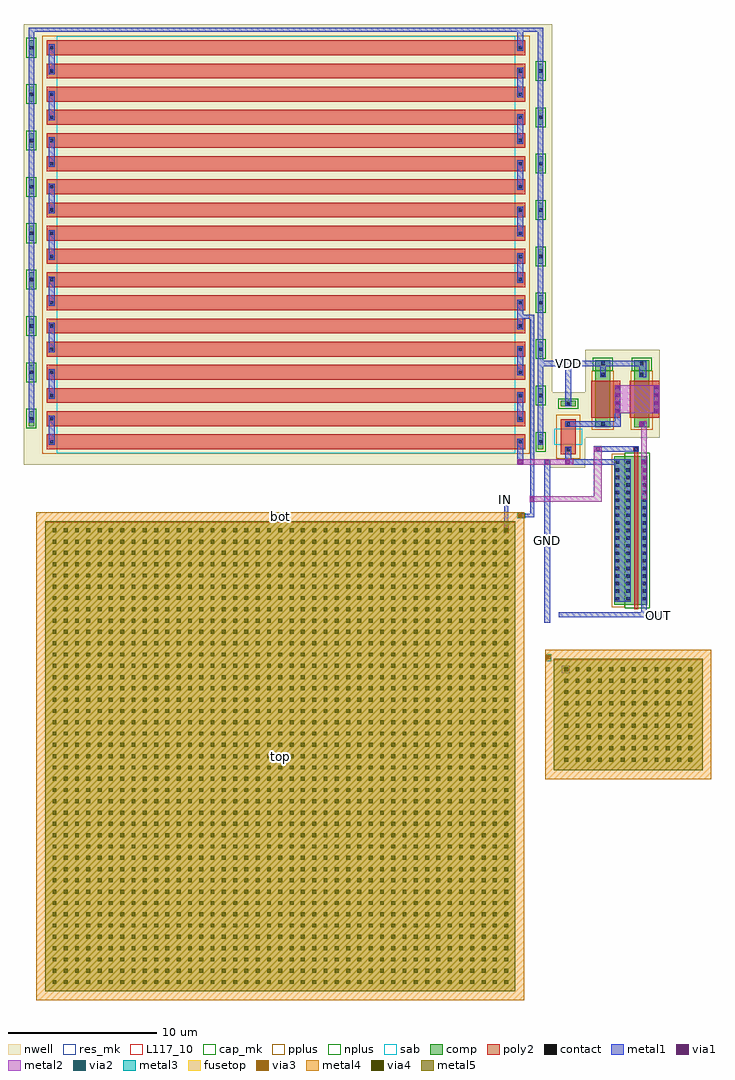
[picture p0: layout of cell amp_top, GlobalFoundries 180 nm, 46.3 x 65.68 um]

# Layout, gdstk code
import gdstk
lib = gdstk.Library(unit=1e-6, precision=5e-09)
def R(c, l, rs):  # rectangles x0, y0, x1, y1
    for r in rs: c.add(gdstk.rectangle(r[:2], r[2:], *l))
def A(c, l, x, y, w, h, nx, ny, dx, dy):  # array of equal rectangles
    R(c, l, [(x+i*dx, y+j*dy, x+i*dx+w, y+j*dy+h) for i in range(nx) for j in range(ny)])
def P(c, l, *ps):  # polygons
    for p in ps: c.add(gdstk.Polygon(p, *l))
nwell = (21, 0)
comp = (22, 0)
poly2 = (30, 0)
pplus = (31, 0)
nplus = (32, 0)
contact = (33, 0)
metal1 = (34, 0)
via1 = (35, 0)
metal2 = (36, 0)
via2 = (38, 0)
via3 = (40, 0)
via4 = (41, 0)
metal3 = (42, 0)
metal4 = (46, 0)
sab = (49, 0)
fusetop = (75, 0)
metal5 = (81, 0)
res_mk = (110, 5)
cap_mk = (117, 5)
L117_10 = (117, 10)

amp_top = lib.new_cell('amp_top')
R(amp_top, nwell, [(39.69,38.19,39.93,44.1), (39.93,38.19,42.31,44.1)])
P(amp_top, nwell, [(34.92,36.155),(34.92,36.365),(-0.49,36.365),(-0.49,66.03),(35.075,66.03),(35.075,41.25),(37.31,41.25),(37.31,44.1),(39.69,44.1),(39.69,38.19),(37.31,38.19),(37.31,36.155)])
A(amp_top, comp, 34.13, 37.41, 0.36, 1, 1, 9, 0, 3.12)
A(amp_top, comp, -0.14, 38.97, 0.36, 1, 1, 9, 0, 3.12)
R(amp_top, comp, [(39.275,26.945,39.985,36.945), (39.985,26.945,40.405,36.945), (40.405,26.945,41.065,36.945), (41.065,26.945,41.485,36.945), (38,38.88,39,39.34), (40.62,38.88,41.62,39.34), (38,39.34,39,42.22), (40.62,39.34,41.62,42.22), (35.67,40.3,36.67,40.66), (38,42.22,39,42.68), (40.62,42.22,41.62,42.68), (38,42.68,39,43.41), (40.62,42.68,41.62,43.41)])
A(amp_top, poly2, 1.08, 37.41, 32.19, 1, 1, 18, 0, 1.56)
R(amp_top, poly2, [(40.595,26.645,40.875,37.245), (35.67,37.07,36.67,39.44), (40.555,37.245,40.915,37.605), (37.7,39.53,39.3,42.03), (39.3,39.53,39.68,42.03), (40.32,39.53,41.92,42.03), (41.92,39.53,42.3,42.03)])
A(amp_top, pplus, 0.78, 37.11, 32.79, 1.6, 1, 18, 0, 1.56)
R(amp_top, pplus, [(39.105,26.775,39.985,37.115), (35.37,36.77,36.97,39.74), (37.76,38.71,39.24,42.68), (40.38,38.71,41.86,42.68)])
A(amp_top, nplus, 33.97, 37.25, 0.68, 1.32, 1, 9, 0, 3.12)
A(amp_top, nplus, -0.3, 38.81, 0.68, 1.32, 1, 9, 0, 3.12)
R(amp_top, nplus, [(39.985,26.705,41.655,37.185), (35.51,40.14,36.83,40.82), (37.83,42.68,39.17,43.58), (40.45,42.68,41.79,43.58)])
A(amp_top, contact, 39.375, 27.245, 0.22, 0.22, 1, 19, 0, 0.51)
A(amp_top, contact, 40.085, 27.245, 0.22, 0.22, 1, 19, 0, 0.51)
A(amp_top, contact, 41.165, 27.245, 0.22, 0.22, 1, 19, 0, 0.51)
A(amp_top, contact, 1.3, 37.8, 0.22, 0.22, 1, 18, 0, 1.56)
A(amp_top, contact, 32.83, 37.8, 0.22, 0.22, 1, 18, 0, 1.56)
A(amp_top, contact, 34.2, 37.8, 0.22, 0.22, 1, 9, 0, 3.12)
A(amp_top, contact, -0.07, 39.36, 0.22, 0.22, 1, 9, 0, 3.12)
A(amp_top, contact, 39.38, 39.905, 0.22, 0.22, 1, 4, 0, 0.51)
A(amp_top, contact, 42, 39.905, 0.22, 0.22, 1, 4, 0, 0.51)
R(amp_top, contact, [(36.06,37.29,36.28,37.51), (40.625,37.315,40.845,37.535), (36.06,39,36.28,39.22), (38.39,39,38.61,39.22), (41.01,39,41.23,39.22), (36.06,40.37,36.28,40.59), (38.39,42.34,38.61,42.56), (41.01,42.34,41.23,42.56), (38.39,43.07,38.61,43.29), (41.01,43.07,41.23,43.29)])
A(amp_top, metal1, 1.22, 37.72, 0.38, 0.38, 1, 18, 0, 1.56)
A(amp_top, metal1, 32.75, 37.72, 0.38, 0.38, 1, 18, 0, 1.56)
A(amp_top, metal1, 34.12, 37.72, 0.38, 0.38, 1, 9, 0, 3.12)
A(amp_top, metal1, -0.15, 39.28, 0.38, 0.38, 1, 9, 0, 3.12)
A(amp_top, metal1, 1.22, 41.22, 0.38, 1.18, 1, 7, 0, 3.12)
A(amp_top, metal1, 32.75, 52.14, 0.38, 1.18, 1, 3, 0, 3.12)
R(amp_top, metal1, [(39.295,27.165,39.675,36.725), (40.005,27.165,40.385,36.725), (31.86,31.77,32.12,31.83), (31.86,31.83,32.12,32.09), (32.75,32.82,32.81,33.08), (32.81,32.82,32.84,33.08), (32.75,36.365,33.13,37.72), (34.12,37.705,34.5,37.72), (1.22,37.71,1.6,37.72), (1.22,38.05,1.6,39.305), (34.12,38.075,34.24,53.32), (32.75,38.1,33.13,38.12), (35.98,38.92,38.31,39.3), (38.31,38.92,38.69,39.3), (40.93,38.92,41.31,39.3), (38.69,38.925,39.69,39.3), (-0.15,39.245,0.23,39.28), (32.75,39.255,33.13,39.28), (-0.15,39.28,0.23,63.395), (39.3,39.3,39.69,39.825), (32.75,39.565,33.13,40.865), (1.22,39.66,1.6,39.67), (39.3,39.825,39.68,41.735), (41.92,39.825,42.3,41.735), (1.22,40.825,1.6,40.84), (32.75,41.22,33.13,41.235), (38.31,42.26,38.69,42.64), (40.93,42.26,41.31,42.64), (41.31,42.26,41.405,43.37), (32.75,42.385,33.13,42.4), (38.31,42.635,38.69,42.99), (40.93,42.64,41.31,42.99), (32.75,42.725,33.13,43.96), (1.22,42.78,1.6,42.795), (38.31,42.99,38.69,43.37), (38.69,42.99,40.93,43.37), (40.93,42.99,41.31,43.37), (1.22,43.945,1.6,43.96), (32.75,44.34,33.13,44.355), (32.75,45.5,33.13,45.52), (32.75,45.82,33.13,47.12), (1.22,45.9,1.6,45.915), (1.22,47.065,1.6,47.08), (32.75,47.46,33.13,47.48), (32.75,48.62,33.13,48.64), (32.75,48.915,33.13,50.2), (1.22,49.02,1.6,49.03), (1.22,50.18,1.6,50.2), (32.75,50.58,33.13,50.595), (32.75,51.74,33.13,51.76), (1.22,52.14,1.6,52.16), (1.22,53.305,1.6,53.32), (32.75,53.7,33.13,53.72), (34.12,53.7,34.24,56.44), (32.75,54.865,33.13,54.88), (1.22,55.26,1.6,55.275), (1.22,56.425,1.6,56.44), (32.75,56.82,33.13,56.845), (34.12,56.82,34.24,59.56), (32.75,57.98,33.13,58), (33.02,58.18,33.07,58.44), (1.22,58.38,1.6,58.4), (1.22,59.545,1.6,59.56), (32.75,59.94,33.13,59.965), (34.12,59.94,34.5,62.63), (32.75,61.11,33.13,61.12), (32.75,61.12,33.13,63.06), (1.22,61.5,1.6,61.515), (34.12,62.63,34.5,65.785), (1.22,62.645,1.6,62.68), (1.22,62.68,1.6,64.655), (32.75,63.06,33.13,63.075), (-0.15,63.395,0.23,65.785), (32.75,64.22,33.13,64.24), (32.75,64.24,33.13,65.655)])
P(amp_top, metal1, [(34.54,25.725),(34.54,36.725),(34.955,36.725),(34.955,25.725),(34.54,25.725),(34.54,25.755)],
  [(35.94,26.115),(35.94,26.12),(35.525,26.12),(35.525,26.445),(41.085,26.445),(41.085,36.725),(41.465,36.725),(41.465,26.445),(42.905,26.445),(42.905,26.115)],
  [(31.86,32.09),(31.86,34.26),(32.12,34.26),(32.12,33.875),(32.12,32.09)],
  [(32.84,32.82),(32.84,33.08),(33.62,33.08),(33.62,33.875),(33.575,33.875),(33.575,34.26),(33.62,34.26),(33.62,34.35),(33.88,34.35),(33.88,32.82)],
  [(34.24,37.725),(34.24,59.945),(34.5,59.945),(34.5,43.37),(38.31,43.37),(38.31,42.99),(36.36,42.99),(36.36,40.29),(35.98,40.29),(35.98,42.99),(34.5,42.99),(34.5,37.725)],
  [(37.895,37.235),(37.895,37.615),(40.925,37.615),(40.925,37.235),(40.545,37.235)],
  [(39.675,27.165),(39.675,36.365),(35.98,36.365),(35.98,37.59),(36.36,37.59),(36.36,36.725),(40.005,36.725),(40.005,27.165)],
  [(34.12,59.56),(34.12,59.56),(34.24,59.56),(34.24,59.56)],
  [(34.12,59.56),(34.12,59.56),(34.24,59.56),(34.24,59.56)],
  [(32.75,51.76),(32.75,51.76),(33.13,51.76),(33.13,51.76)],
  [(32.75,64.24),(32.75,64.24),(33.13,64.24),(33.13,64.24)],
  [(7.845,63.03),(7.845,63.03),(7.845,63.03),(7.845,63.03)])
A(amp_top, via1, 39.36, 40.395, 0.26, 0.26, 1, 3, 0, 0.52)
A(amp_top, via1, 41.98, 40.395, 0.26, 0.26, 1, 3, 0, 0.52)
R(amp_top, via1, [(35.895,22.47,36.155,22.73), (34.7,23.275,34.96,23.535), (34.7,23.275,34.96,23.535), (31.86,31.83,32.12,32.09), (32.81,32.82,33.07,33.08), (33.595,33.925,33.855,34.185), (41.165,35.365,41.425,35.625), (41.165,35.87,41.42,36.135), (41.145,36.405,41.405,36.665), (32.81,36.415,33.07,36.675), (34.61,36.425,34.87,36.685), (36.005,36.425,36.265,36.685), (38.015,37.3,38.275,37.56), (40.99,38.98,41.25,39.24), (41.01,39,41.23,39.22), (39.36,39.865,39.62,40.125), (41.98,39.865,42.24,40.125), (41.98,41.435,42.24,41.695)])
P(amp_top, via1, [(32.895,33.06),(32.895,33.06),(32.895,33.06),(32.895,33.06)])
R(amp_top, metal2, [(35.72,22.355,36.28,22.83), (34.64,23.15,35.015,23.615), (34.64,23.15,35.015,23.615), (31.82,31.77,32.16,32.305), (32.75,32.78,33.285,32.82), (32.75,32.82,33.285,33.08), (32.75,33.08,33.285,33.12), (41.085,34.06,41.465,39.3), (32.75,36.365,36.52,36.725), (40.93,38.92,41.385,39.3), (39.3,39.825,42.3,41.735)])
P(amp_top, metal2, [(33.575,33.875),(33.575,34.26),(37.895,34.26),(37.895,37.585),(38.405,37.585),(38.405,33.875)])
R(amp_top, via2, [(34.7,23.275,34.96,23.535), (34.7,23.275,34.96,23.535), (32.81,32.82,33.07,33.08)])
R(amp_top, via3, [(34.7,23.275,34.96,23.535), (34.7,23.275,34.96,23.535), (32.81,32.82,33.07,33.08)])
A(amp_top, via4, 1.46, 1.43, 0.26, 0.26, 41, 41, 0.76, 0.76)
R(amp_top, via4, [(35.895,16.39,36.155,16.65), (35.895,16.39,36.155,16.65), (36.655,16.39,36.915,16.65), (36.655,16.39,36.915,16.65), (37.415,16.39,37.675,16.65), (37.415,16.39,37.675,16.65), (38.175,16.39,38.435,16.65), (38.175,16.39,38.435,16.65), (38.935,16.39,39.195,16.65), (38.935,16.39,39.195,16.65), (39.695,16.39,39.955,16.65), (39.695,16.39,39.955,16.65), (40.455,16.39,40.715,16.65), (40.455,16.39,40.715,16.65), (41.215,16.39,41.475,16.65), (41.215,16.39,41.475,16.65), (41.975,16.39,42.235,16.65), (41.975,16.39,42.235,16.65), (42.735,16.39,42.995,16.65), (42.735,16.39,42.995,16.65), (43.495,16.39,43.755,16.65), (43.495,16.39,43.755,16.65), (44.255,16.39,44.515,16.65), (44.255,16.39,44.515,16.65), (35.895,17.15,36.155,17.41), (35.895,17.15,36.155,17.41), (36.655,17.15,36.915,17.41), (36.655,17.15,36.915,17.41), (37.415,17.15,37.675,17.41), (37.415,17.15,37.675,17.41), (38.175,17.15,38.435,17.41), (38.175,17.15,38.435,17.41), (38.935,17.15,39.195,17.41), (38.935,17.15,39.195,17.41), (39.695,17.15,39.955,17.41), (39.695,17.15,39.955,17.41), (40.455,17.15,40.715,17.41), (40.455,17.15,40.715,17.41), (41.215,17.15,41.475,17.41), (41.215,17.15,41.475,17.41), (41.975,17.15,42.235,17.41), (41.975,17.15,42.235,17.41), (42.735,17.15,42.995,17.41), (42.735,17.15,42.995,17.41), (43.495,17.15,43.755,17.41), (43.495,17.15,43.755,17.41), (44.255,17.15,44.515,17.41), (44.255,17.15,44.515,17.41), (35.895,17.91,36.155,18.17), (35.895,17.91,36.155,18.17), (36.655,17.91,36.915,18.17), (36.655,17.91,36.915,18.17), (37.415,17.91,37.675,18.17), (37.415,17.91,37.675,18.17), (38.175,17.91,38.435,18.17), (38.175,17.91,38.435,18.17), (38.935,17.91,39.195,18.17), (38.935,17.91,39.195,18.17), (39.695,17.91,39.955,18.17), (39.695,17.91,39.955,18.17), (40.455,17.91,40.715,18.17), (40.455,17.91,40.715,18.17), (41.215,17.91,41.475,18.17), (41.215,17.91,41.475,18.17), (41.975,17.91,42.235,18.17), (41.975,17.91,42.235,18.17), (42.735,17.91,42.995,18.17), (42.735,17.91,42.995,18.17), (43.495,17.91,43.755,18.17), (43.495,17.91,43.755,18.17), (44.255,17.91,44.515,18.17), (44.255,17.91,44.515,18.17), (35.895,18.67,36.155,18.93), (35.895,18.67,36.155,18.93), (36.655,18.67,36.915,18.93), (36.655,18.67,36.915,18.93), (37.415,18.67,37.675,18.93), (37.415,18.67,37.675,18.93), (38.175,18.67,38.435,18.93), (38.175,18.67,38.435,18.93), (38.935,18.67,39.195,18.93), (38.935,18.67,39.195,18.93), (39.695,18.67,39.955,18.93), (39.695,18.67,39.955,18.93), (40.455,18.67,40.715,18.93), (40.455,18.67,40.715,18.93), (41.215,18.67,41.475,18.93), (41.215,18.67,41.475,18.93), (41.975,18.67,42.235,18.93), (41.975,18.67,42.235,18.93), (42.735,18.67,42.995,18.93), (42.735,18.67,42.995,18.93), (43.495,18.67,43.755,18.93), (43.495,18.67,43.755,18.93), (44.255,18.67,44.515,18.93), (44.255,18.67,44.515,18.93), (35.895,19.43,36.155,19.69), (35.895,19.43,36.155,19.69), (36.655,19.43,36.915,19.69), (36.655,19.43,36.915,19.69), (37.415,19.43,37.675,19.69), (37.415,19.43,37.675,19.69), (38.175,19.43,38.435,19.69), (38.175,19.43,38.435,19.69), (38.935,19.43,39.195,19.69), (38.935,19.43,39.195,19.69), (39.695,19.43,39.955,19.69), (39.695,19.43,39.955,19.69), (40.455,19.43,40.715,19.69), (40.455,19.43,40.715,19.69), (41.215,19.43,41.475,19.69), (41.215,19.43,41.475,19.69), (41.975,19.43,42.235,19.69), (41.975,19.43,42.235,19.69), (42.735,19.43,42.995,19.69), (42.735,19.43,42.995,19.69), (43.495,19.43,43.755,19.69), (43.495,19.43,43.755,19.69), (44.255,19.43,44.515,19.69), (44.255,19.43,44.515,19.69), (35.895,20.19,36.155,20.45), (35.895,20.19,36.155,20.45), (36.655,20.19,36.915,20.45), (36.655,20.19,36.915,20.45), (37.415,20.19,37.675,20.45), (37.415,20.19,37.675,20.45), (38.175,20.19,38.435,20.45), (38.175,20.19,38.435,20.45), (38.935,20.19,39.195,20.45), (38.935,20.19,39.195,20.45), (39.695,20.19,39.955,20.45), (39.695,20.19,39.955,20.45), (40.455,20.19,40.715,20.45), (40.455,20.19,40.715,20.45), (41.215,20.19,41.475,20.45), (41.215,20.19,41.475,20.45), (41.975,20.19,42.235,20.45), (41.975,20.19,42.235,20.45), (42.735,20.19,42.995,20.45), (42.735,20.19,42.995,20.45), (43.495,20.19,43.755,20.45), (43.495,20.19,43.755,20.45), (44.255,20.19,44.515,20.45), (44.255,20.19,44.515,20.45), (35.895,20.95,36.155,21.21), (35.895,20.95,36.155,21.21), (36.655,20.95,36.915,21.21), (36.655,20.95,36.915,21.21), (37.415,20.95,37.675,21.21), (37.415,20.95,37.675,21.21), (38.175,20.95,38.435,21.21), (38.175,20.95,38.435,21.21), (38.935,20.95,39.195,21.21), (38.935,20.95,39.195,21.21), (39.695,20.95,39.955,21.21), (39.695,20.95,39.955,21.21), (40.455,20.95,40.715,21.21), (40.455,20.95,40.715,21.21), (41.215,20.95,41.475,21.21), (41.215,20.95,41.475,21.21), (41.975,20.95,42.235,21.21), (41.975,20.95,42.235,21.21), (42.735,20.95,42.995,21.21), (42.735,20.95,42.995,21.21), (43.495,20.95,43.755,21.21), (43.495,20.95,43.755,21.21), (44.255,20.95,44.515,21.21), (44.255,20.95,44.515,21.21), (35.895,21.71,36.155,21.97), (35.895,21.71,36.155,21.97), (36.655,21.71,36.915,21.97), (36.655,21.71,36.915,21.97), (37.415,21.71,37.675,21.97), (37.415,21.71,37.675,21.97), (38.175,21.71,38.435,21.97), (38.175,21.71,38.435,21.97), (38.935,21.71,39.195,21.97), (38.935,21.71,39.195,21.97), (39.695,21.71,39.955,21.97), (39.695,21.71,39.955,21.97), (40.455,21.71,40.715,21.97), (40.455,21.71,40.715,21.97), (41.215,21.71,41.475,21.97), (41.215,21.71,41.475,21.97), (41.975,21.71,42.235,21.97), (41.975,21.71,42.235,21.97), (42.735,21.71,42.995,21.97), (42.735,21.71,42.995,21.97), (43.495,21.71,43.755,21.97), (43.495,21.71,43.755,21.97), (44.255,21.71,44.515,21.97), (44.255,21.71,44.515,21.97), (35.895,22.47,36.155,22.73), (35.895,22.47,36.155,22.73), (36.655,22.47,36.915,22.73), (36.655,22.47,36.915,22.73), (37.415,22.47,37.675,22.73), (37.415,22.47,37.675,22.73), (38.175,22.47,38.435,22.73), (38.175,22.47,38.435,22.73), (38.935,22.47,39.195,22.73), (38.935,22.47,39.195,22.73), (39.695,22.47,39.955,22.73), (39.695,22.47,39.955,22.73), (40.455,22.47,40.715,22.73), (40.455,22.47,40.715,22.73), (41.215,22.47,41.475,22.73), (41.215,22.47,41.475,22.73), (41.975,22.47,42.235,22.73), (41.975,22.47,42.235,22.73), (42.735,22.47,42.995,22.73), (42.735,22.47,42.995,22.73), (43.495,22.47,43.755,22.73), (43.495,22.47,43.755,22.73), (44.255,22.47,44.515,22.73), (44.255,22.47,44.515,22.73)])
R(amp_top, metal3, [(34.64,23.15,35.015,23.615), (34.64,23.15,35.015,23.615), (32.75,32.78,33.285,33.12)])
R(amp_top, metal4, [(0.38,0.35,33.2,33.17), (34.605,15.21,45.805,23.91), (34.605,15.21,45.805,23.91)])
A(amp_top, sab, 1.74, 37.13, 30.87, 1.56, 1, 18, 0, 1.56)
R(amp_top, sab, [(35.215,37.73,37.125,38.78)])
R(amp_top, fusetop, [(0.98,0.95,32.6,32.57), (35.205,15.81,45.205,23.31), (35.205,15.81,45.205,23.31)])
R(amp_top, metal5, [(0.98,0.95,32.6,32.57), (35.205,15.81,45.205,23.31), (35.205,15.81,45.205,23.31)])
A(amp_top, res_mk, 1.74, 37.41, 30.87, 1, 1, 18, 0, 1.56)
R(amp_top, res_mk, [(35.67,37.73,36.67,38.78)])
R(amp_top, cap_mk, [(0.38,0.35,33.2,33.17), (34.605,15.21,45.805,23.91), (34.605,15.21,45.805,23.91)])
R(amp_top, L117_10, [(35.205,23.21,45.205,23.31), (35.205,23.21,45.205,23.31), (0.98,32.47,32.6,32.57)])
amp_top.add(gdstk.FlexPath([(32.94,37.72),(32.94,36.365)], 0.26, ends="flush", simple_path=True, layer=34, datatype=0))  # metal1
amp_top.add(gdstk.FlexPath([(34.37,64.465),(34.37,65.655),(0.1,65.655),(0.1,65.625),(0.1,65.625)], 0.26, ends="flush", simple_path=True, layer=34, datatype=0))  # metal1
amp_top.add(gdstk.FlexPath([(1.41,39.355),(1.41,37.905)], 0.26, ends="flush", simple_path=True, layer=34, datatype=0))  # metal1
amp_top.add(gdstk.FlexPath([(1.41,42.4),(1.41,41.14)], 0.26, ends="flush", simple_path=True, layer=34, datatype=0))  # metal1
amp_top.add(gdstk.FlexPath([(1.41,45.52),(1.41,44.15)], 0.26, ends="flush", simple_path=True, layer=34, datatype=0))  # metal1
amp_top.add(gdstk.FlexPath([(1.41,48.64),(1.41,47.27)], 0.26, ends="flush", simple_path=True, layer=34, datatype=0))  # metal1
amp_top.add(gdstk.FlexPath([(1.41,51.76),(1.41,50.5)], 0.26, ends="flush", simple_path=True, layer=34, datatype=0))  # metal1
amp_top.add(gdstk.FlexPath([(1.41,54.88),(1.41,53.62)], 0.26, ends="flush", simple_path=True, layer=34, datatype=0))  # metal1
amp_top.add(gdstk.FlexPath([(1.41,58),(1.41,56.63),(1.41,56.63)], 0.26, ends="flush", simple_path=True, layer=34, datatype=0))  # metal1
amp_top.add(gdstk.FlexPath([(1.41,61.12),(1.41,59.86),(1.41,59.86)], 0.26, ends="flush", simple_path=True, layer=34, datatype=0))  # metal1
amp_top.add(gdstk.FlexPath([(32.94,59.57),(32.94,58.31),(33.05,58.31)], 0.26, ends="flush", simple_path=True, layer=34, datatype=0))  # metal1
amp_top.add(gdstk.FlexPath([(32.94,56.44),(32.94,55.07),(32.94,55.07)], 0.26, ends="flush", simple_path=True, layer=34, datatype=0))  # metal1
amp_top.add(gdstk.FlexPath([(32.94,53.32),(32.94,51.95)], 0.26, ends="flush", simple_path=True, layer=34, datatype=0))  # metal1
amp_top.add(gdstk.FlexPath([(32.94,50.2),(32.94,48.72)], 0.26, ends="flush", simple_path=True, layer=34, datatype=0))  # metal1
amp_top.add(gdstk.FlexPath([(32.94,47.16),(32.94,45.71)], 0.26, ends="flush", simple_path=True, layer=34, datatype=0))  # metal1
amp_top.add(gdstk.FlexPath([(33.04,46.33),(33.75,46.33),(33.75,34.35),(33.75,34.35)], 0.26, ends="flush", simple_path=True, layer=34, datatype=0))  # metal1
amp_top.add(gdstk.FlexPath([(32.94,43.96),(32.94,42.59)], 0.26, ends="flush", simple_path=True, layer=34, datatype=0))  # metal1
amp_top.add(gdstk.FlexPath([(32.94,40.92),(32.94,39.47)], 0.26, ends="flush", simple_path=True, layer=34, datatype=0))  # metal1
amp_top.add(gdstk.Label('GND', (34.75,31.29), layer=34, texttype=10))
amp_top.add(gdstk.Label('OUT', (42.215,26.215), layer=34, texttype=10))
amp_top.add(gdstk.Label('VDD', (36.18,43.15), layer=34, texttype=10))
amp_top.add(gdstk.Label('IN', (31.955,34.055), layer=34, texttype=10))
amp_top.add(gdstk.Label('top', (16.79,16.76), layer=81, texttype=10))
amp_top.add(gdstk.Label('bot', (16.79,32.87), layer=46, texttype=10))

lib.write_gds('amp_top.gds')
